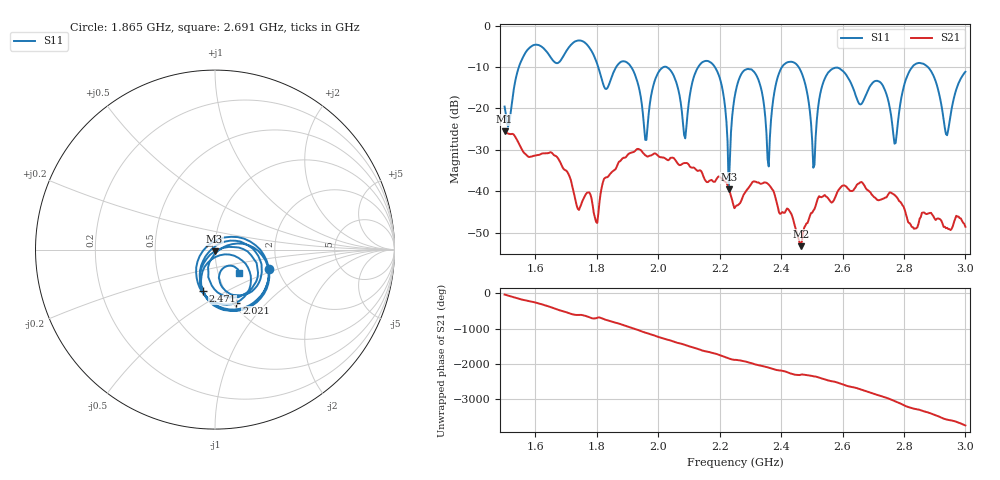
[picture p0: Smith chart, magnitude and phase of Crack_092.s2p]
# HZ S RI R 50
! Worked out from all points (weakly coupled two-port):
!   404 points, 1.5 GHz to 3 GHz, reference 50 ohm
!   highest |S21| = -25.58 dB at 1.5 GHz (marker M1); lowest = -53.3 dB at 2.464 GHz (marker M2)
!   lowest |S11| = -39.5 dB at 2.23 GHz (marker M3), VSWR 1.02, Z = 49.7 - j1.02 ohm
!   |S11| at or under -10 dB: 2.184 GHz to 2.403 GHz (218.9 MHz wide, 9.54 % of centre); 2.457 GHz to 2.827 GHz (370.2 MHz wide, 14 % of centre); 2.878 GHz to end of sweep (the widest 3 of 7)
!   S12 and S22 are empty: the file has one direction only
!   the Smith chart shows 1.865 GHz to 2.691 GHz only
!   S11 on the Smith chart (normalised r, x): 1.865 GHz: 1.80, -0.44; 2.021 GHz: 1.04, -0.68; 2.471 GHz: 0.79, -0.39; 2.691 GHz: 1.26, -0.34
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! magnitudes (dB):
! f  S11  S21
! 1.5 GHz  -19.6  -25.6
! 1.753 GHz  -3.8  -42.4
! 1.865 GHz  -9.8  -34.1
! 1.958 GHz  -27.6  -31.3
! 2.002 GHz  -11.1  -31.6
! 2.021 GHz  -9.9  -32.0
! 2.088 GHz  -27.2  -33.2
! 2.181 GHz  -9.7  -37.7
! 2.23 GHz  -39.5  -39.4
! 2.252 GHz  -16.0  -43.7
! 2.315 GHz  -11.5  -37.7
! 2.36 GHz  -34.0  -38.4
! 2.397 GHz  -10.8  -45.5
! 2.464 GHz  -10.9  -53.3
! 2.471 GHz  -12.3  -50.1
! 2.501 GHz  -27.8  -45.2
! 2.561 GHz  -10.8  -42.5
! 2.691 GHz  -14.5  -40.3
! 2.751 GHz  -18.6  -40.6
! 2.862 GHz  -9.2  -45.2
! 2.94 GHz  -26.5  -48.9
! 3 GHz  -11.2  -48.6
